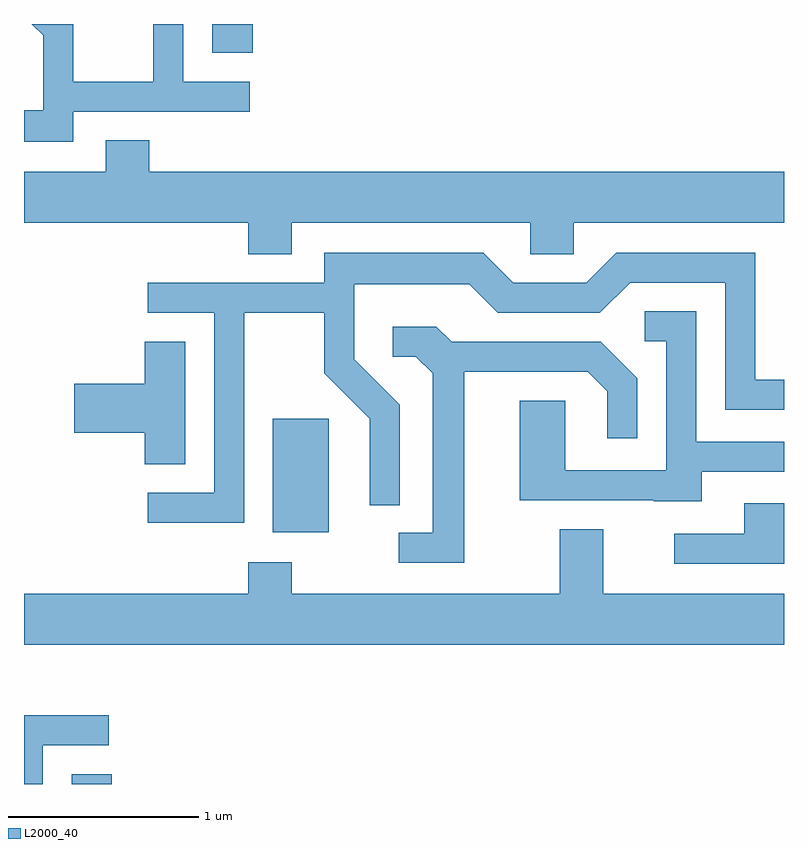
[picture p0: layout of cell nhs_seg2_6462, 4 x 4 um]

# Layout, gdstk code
import gdstk
lib = gdstk.Library(unit=1e-6, precision=1e-09)
def R(c, l, rs):  # rectangles x0, y0, x1, y1
    for r in rs: c.add(gdstk.rectangle(r[:2], r[2:], *l))
def P(c, l, *ps):  # polygons
    for p in ps: c.add(gdstk.Polygon(p, *l))
L2000_40 = (2000, 40)

nhs_seg2_6462 = lib.new_cell('nhs_seg2_6462')
R(nhs_seg2_6462, L2000_40, [(375.861,1049.802,376.074,1049.854), (376.921,1051.126,377.214,1051.724), (376.601,1053.651,376.814,1053.802)])
P(nhs_seg2_6462, L2000_40, [(375.869,1053.341),(376.798,1053.341),(376.798,1053.499),(376.449,1053.499),(376.449,1053.802),(376.291,1053.802),(376.291,1053.499),(375.869,1053.499),(375.869,1053.802),(375.653,1053.802),(375.711,1053.744),(375.711,1053.349),(375.611,1053.349),(375.611,1053.181),(375.869,1053.181)],
  [(377.019,1052.756),(378.276,1052.756),(378.276,1052.591),(378.504,1052.591),(378.504,1052.756),(379.611,1052.756),(379.611,1053.024),(376.269,1053.024),(376.269,1053.189),(376.041,1053.189),(376.041,1053.024),(375.611,1053.024),(375.611,1052.756),(376.791,1052.756),(376.791,1052.591),(377.019,1052.591)],
  [(376.769,1052.281),(377.191,1052.281),(377.191,1051.964),(377.431,1051.724),(377.431,1051.268),(377.589,1051.268),(377.589,1051.797),(377.349,1052.037),(377.349,1052.431),(377.954,1052.431),(378.104,1052.281),(378.642,1052.281),(378.802,1052.441),(379.301,1052.441),(379.301,1051.771),(379.611,1051.771),(379.611,1051.929),(379.459,1051.929),(379.459,1052.599),(378.729,1052.599),(378.569,1052.439),(378.187,1052.439),(378.027,1052.599),(377.191,1052.599),(377.191,1052.439),(376.263,1052.439),(376.263,1052.281),(376.611,1052.281),(376.611,1051.334),(376.263,1051.334),(376.263,1051.176),(376.769,1051.176)],
  [(379.179,1051.446),(379.611,1051.446),(379.611,1051.604),(379.149,1051.604),(379.149,1052.289),(378.878,1052.289),(378.878,1052.131),(378.991,1052.131),(378.991,1051.454),(378.459,1051.454),(378.459,1051.819),(378.221,1051.819),(378.221,1051.296),(378.925,1051.296),(378.925,1051.291),(379.179,1051.291)],
  [(377.929,1051.971),(378.579,1051.971),(378.681,1051.869),(378.681,1051.623),(378.839,1051.623),(378.839,1051.937),(378.647,1052.129),(377.862,1052.129),(377.782,1052.209),(377.553,1052.209),(377.553,1052.051),(377.674,1052.051),(377.761,1051.964),(377.761,1051.124),(377.583,1051.124),(377.583,1050.966),(377.929,1050.966)],
  [(376.459,1052.129),(376.246,1052.129),(376.246,1051.909),(375.876,1051.909),(375.876,1051.651),(376.246,1051.651),(376.246,1051.486),(376.459,1051.486)],
  [(379.611,1051.279),(379.401,1051.279),(379.401,1051.119),(379.033,1051.119),(379.033,1050.961),(379.611,1050.961)],
  [(379.611,1050.804),(378.659,1050.804),(378.659,1051.144),(378.431,1051.144),(378.431,1050.804),(377.019,1050.804),(377.019,1050.969),(376.791,1050.969),(376.791,1050.804),(375.611,1050.804),(375.611,1050.536),(379.611,1050.536)],
  [(375.709,1050.006),(376.058,1050.006),(376.058,1050.164),(375.611,1050.164),(375.611,1049.802),(375.709,1049.802)])

lib.write_gds('nhs_seg2_6462.gds')
